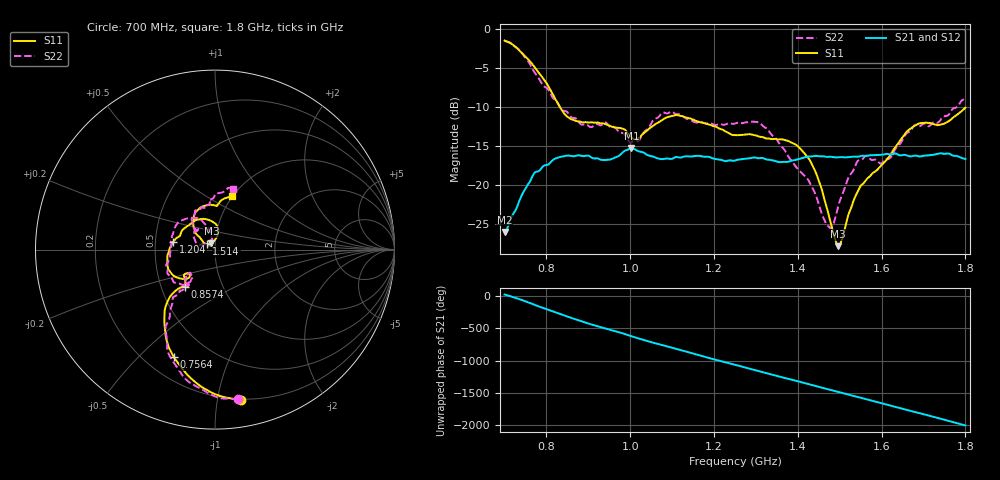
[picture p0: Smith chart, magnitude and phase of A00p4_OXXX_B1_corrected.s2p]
! Created with skrf 1.9.0 (http://scikit-rf.org).
# Hz S RI R 50.0
!freq ReS11 ImS11 ReS21 ImS21 ReS12 ImS12 ReS22 ImS22
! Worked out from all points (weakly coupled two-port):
!   1601 points, 700 MHz to 1.8 GHz, reference 50 ohm
!   highest |S21| = -15.26 dB at 1.002 GHz (marker M1); lowest = -26.0 dB at 700 MHz (marker M2)
!   lowest |S11| = -27.8 dB at 1.496 GHz (marker M3), VSWR 1.08, Z = 47.9 + j3.39 ohm
!   |S11| at or under -10 dB: 832.3 MHz to end of sweep
!   |S22| runs from -25.5 to -1.5 dB; largest |S21 - S12| = 0.0029
!   S11 on the Smith chart (normalised r, x): 700 MHz: 0.19, -1.17; 756.4 MHz: 0.31, -0.64; 857.4 MHz: 0.66, -0.29; 1.204 GHz: 0.62, +0.06; 1.514 GHz: 0.91, +0.06; 1.8 GHz: 0.99, +0.66
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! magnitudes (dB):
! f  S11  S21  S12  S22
! 700 MHz  -1.4  -26.0  -25.8  -1.5
! 756.4 MHz  -3.8  -19.9  -19.7  -4.1
! 793.5 MHz  -6.4  -17.5  -17.6  -7.3
! 857.4 MHz  -11.5  -16.2  -16.3  -11.2
! 883.6 MHz  -11.9  -16.2  -16.1  -12.2
! 942 MHz  -12.2  -16.8  -16.8  -12.0
! 1.002 GHz  -13.8  -15.3  -15.4  -14.5
! 1.067 GHz  -11.9  -16.6  -16.5  -11.3
! 1.113 GHz  -11.0  -16.4  -16.5  -10.9
! 1.204 GHz  -12.5  -16.6  -16.7  -12.3
! 1.25 GHz  -13.6  -16.8  -16.8  -12.1
! 1.325 GHz  -14.0  -16.7  -16.6  -12.7
! 1.393 GHz  -14.7  -16.8  -16.8  -17.5
! 1.434 GHz  -17.3  -16.3  -16.3  -20.2
! 1.474 GHz  -23.9  -16.4  -16.4  -25.3
! 1.496 GHz  -27.8  -16.4  -16.4  -22.8
! 1.514 GHz  -25.2  -16.4  -16.4  -20.1
! 1.546 GHz  -20.4  -16.3  -16.3  -16.8
! 1.617 GHz  -16.4  -16.0  -16.0  -16.6
! 1.676 GHz  -12.5  -16.2  -16.3  -12.5
! 1.734 GHz  -12.3  -16.0  -16.0  -12.0
! 1.8 GHz  -10.1  -16.6  -16.6  -9.1
